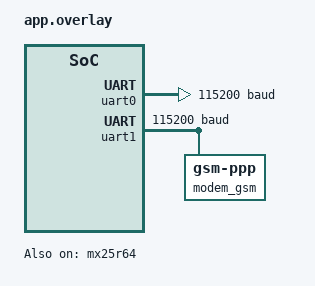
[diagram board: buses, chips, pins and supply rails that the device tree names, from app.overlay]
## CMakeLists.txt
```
#
# Copyright (c) 2020 Nordic Semiconductor
#
# SPDX-License-Identifier: LicenseRef-Nordic-5-Clause
#

cmake_minimum_required(VERSION 3.20.0)

find_package(Zephyr REQUIRED HINTS $ENV{ZEPHYR_BASE})
project(nrf_connect_sdk_intermediate)

target_sources(app PRIVATE src/main.c)
target_sources(app PRIVATE src/aws.c)
target_sources(app PRIVATE src/gsm.c )
target_sources(app PRIVATE src/aws_iot/iot_connections.c)
target_sources(app PRIVATE src/observer.c)


zephyr_include_directories(src)
zephyr_include_directories(src/aws_iot)

# Make folder containing certificates global so that it can be located by
# the AWS IoT library.
zephyr_include_directories_ifdef(CONFIG_AWS_IOT_PROVISION_CERTIFICATES certs)
```

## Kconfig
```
#
# Copyright (c) 2020 Nordic Semiconductor ASA
#
# SPDX-License-Identifier: LicenseRef-Nordic-5-Clause
#

rsource "src/aws_iot/Kconfig.aws"

rsource "src/Kconfig.base"

menu "AWS IoT Sample Settings"

config AWS_IOT_SAMPLE_APP_VERSION
	string "Application version"
	default "v1.0.0"

config AWS_TOPIC_NAME
	string "AWS Topic Name"
	default "zephyr/Yash"

config AWS_THING_NAME
	string "AWS Topic Name"
	default "fotaYash"

config AWS_IOT_SAMPLE_JSON_MESSAGE_SIZE_MAX
	int "Maximum size of JSON messages"
	default 200
	help
	  Maximum size of JSON messages that are sent to AWS IoT.

config AWS_IOT_SAMPLE_PUBLICATION_INTERVAL_SECONDS
	int "Interval in seconds that the sample will publish data"
	default 60

config AWS_IOT_SAMPLE_CONNECTION_RETRY_TIMEOUT_SECONDS
	int "Number of seconds between each AWS IoT connection retry"
	default 30

config AWS_IOT_SAMPLE_DEVICE_ID_USE_HW_ID
	bool "Use HW ID as device ID"
	select AWS_IOT_CLIENT_ID_APP
	depends on HW_ID_LIBRARY
	help
	  Use the devices's hardware ID as device ID when connecting to AWS IOT

config AWS_TEST_SUITE_RECV_QOS1
	bool "Test suite for receiving QoS 1 messages"
	help
		For single test case "MQTT Client Puack QoS1"

config AWS_QOS
	int "MQTT QoS"
	default 0 if AWS_TEST_SUITE_DQP
	default 1 if AWS_TEST_SUITE_RECV_QOS1
	default 0
	range 0 1
	help
		Quality of Service to use for publishing and subscribing to topics.
		Notes:
			- Use QoS 0 when passing DQP test suite
			- QoS 2 is not supported by AWS MQTT broker	  

module = AWS_IOT_SAMPLE
module-str = AWS IoT sample
source "${ZEPHYR_BASE}/subsys/logging/Kconfig.template.log_config"

endmenu

menu "Zephyr Kernel"
source "Kconfig.zephyr"
endmenu
```

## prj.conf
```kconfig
#version
CONFIG_AWS_IOT_SAMPLE_APP_VERSION="v1.0.0"

#Customizable Parameter 
CONFIG_GROUP_ID=1
CONFIG_DEVICE_ID=55
CONFIG_BLE_RECEIVING_PAYLOAD=32
# CONFIG_BLE_ADD="DF:AC:BE:AF:BA:13"
CONFIG_BLE_ADD="DF:AD:BE:AF:BA:01"
CONFIG_AWS_IOT_SAMPLE_JSON_MESSAGE_SIZE_MAX=1024

#Added AWS Host Name
CONFIG_AWS_IOT_BROKER_HOST_NAME="a3qvnhplljfvjr-ats.iot.us-east-1.amazonaws.com"
# CONFIG_AWS_IOT_BROKER_HOST_NAME="a1tgjydixa0qkm-ats.iot.us-east-1.amazonaws.com"

#AWS Thing Name
# CONFIG_AWS_THING_NAME="smart_irrigation"
# CONFIG_AWS_THING_NAME="SS_Electronics"
CONFIG_AWS_THING_NAME="CPS_Lab_1"

#AWS Topic Name
CONFIG_AWS_TOPIC_NAME="CloudSense_sensors/Temp"

CONFIG_LOG=y
CONFIG_JSON_LIBRARY=y

# Heap and stacksN
CONFIG_HEAP_MEM_POOL_SIZE=8192
CONFIG_MAIN_STACK_SIZE=4096

# Network
CONFIG_NETWORKING=y
CONFIG_NET_NATIVE=y
CONFIG_NET_IPV4=y
CONFIG_NET_CONNECTION_MANAGER=y

# AWS IoT library
CONFIG_AWS_IOTX=y
CONFIG_AWS_QOS=1



CONFIG_AWS_IOT_SEC_TAG=201
CONFIG_AWS_IOT_APP_SUBSCRIPTION_LIST_COUNT=2
CONFIG_AWS_IOT_LAST_WILL=y

# MQTT - Maximum MQTT keepalive timeout specified by AWS IoT Core
CONFIG_MQTT_KEEPALIVE=60
CONFIG_MQTT_CLEAN_SESSION=y
CONFIG_AWS_IOT_SAMPLE_PUBLICATION_INTERVAL_SECONDS=1


# GSM modem support
CONFIG_MODEM=y
CONFIG_MODEM_GSM_PPP=y
CONFIG_MODEM_GSM_QUECTEL=y

#gsm
CONFIG_NET_SHELL=y
CONFIG_MODEM_SHELL=y
CONFIG_MODEM_GSM_APN="airtelgprs.com"
CONFIG_MODEM_SIM_NUMBERS=n


# PPP networking support
CONFIG_NET_DRIVERS=y
CONFIG_NET_PPP=y
CONFIG_NET_L2_PPP_TIMEOUT=10000
CONFIG_NET_PPP_RX_STACK_SIZE=8192

# Network buffers
CONFIG_NET_PKT_RX_COUNT=128
CONFIG_NET_PKT_TX_COUNT=128
CONFIG_NET_BUF_RX_COUNT=128
CONFIG_NET_BUF_TX_COUNT=128
CONFIG_MULTITHREADING=y 
CONFIG_DATE_TIME=y
CONFIG_DATE_TIME_NTP=n
CONFIG_REBOOT=y
CONFIG_FPU=y
CONFIG_AWS_IOT_SAMPLE_CONNECTION_RETRY_TIMEOUT_SECONDS=2

# DNS
CONFIG_DNS_RESOLVER=y
CONFIG_DNS_RESOLVER_ADDITIONAL_BUF_CTR=2
CONFIG_DNS_RESOLVER_MAX_SERVERS=1
CONFIG_DNS_SERVER_IP_ADDRESSES=y
CONFIG_DNS_SERVER1="8.8.8.8"
CONFIG_NET_SOCKETS_DNS_TIMEOUT=5000


#time
CONFIG_SNTP=y

# Bluetooth settings
CONFIG_BT=y
CONFIG_BT_OBSERVER=y
CONFIG_BT_FILTER_ACCEPT_LIST=y
# CONFIG_BT_CTLR_DUP_FILTER=y

# Enable Extended Scanning
CONFIG_BT_EXT_ADV=y
# CONFIG_BT_EXT_SCAN_BUF_SIZE=1650
CONFIG_BT_BUF_EVT_RX_COUNT=20
# CONFIG_BT_CTLR_SCAN_DATA_LEN_MAX=1650 
# CONFIG_BT_CTLR_RX_BUFFERS=16
# CONFIG_BT_CTLR_FAL_SIZE=8

# Periodic scanning
CONFIG_BT_PER_ADV_SYNC=y
# CONFIG_BT_CTLR_SYNC_PERIODIC=y
CONFIG_BT_PER_ADV_SYNC_BUF_SIZE=256
# CONFIG_BT_PER_ADV_SYNC_BUF_SIZE=250
# CONFIG_BT_CTLR_SDC_PERIODIC_SYNC_BUFFER_COUNT=20
CONFIG_NEWLIB_LIBC=y
CONFIG_BT_PER_ADV_SYNC_MAX=4

# Bluetooth controller settings
# CONFIG_BT_LL_SW_SPLIT=y
# CONFIG_BT_LL_SOFTDEVICE=y
```

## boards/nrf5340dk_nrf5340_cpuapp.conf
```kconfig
# Configuration file for nRF7002 DK
# This file is merged with prj.conf in the application folder, and options
# set here will take precedence if they are present in both files.

# General
CONFIG_POSIX_CLOCK=y
CONFIG_SYSTEM_WORKQUEUE_STACK_SIZE=4096
CONFIG_HW_STACK_PROTECTION=y
CONFIG_HW_ID_LIBRARY_SOURCE_NET_MAC=y

# Set newlib C to prevent build error complaining that string.h is not supported
CONFIG_NEWLIB_LIBC=y
CONFIG_NEWLIB_LIBC_FLOAT_PRINTF=y


CONFIG_FLASH=y
CONFIG_FLASH_PAGE_LAYOUT=y
CONFIG_FLASH_MAP=y
CONFIG_NVS=y
CONFIG_SETTINGS=y
CONFIG_SETTINGS_NVS=y

# WPA
CONFIG_WPA_SUPP=y

# NET sockets
# CONFIG_NET_L2_ETHERNET=y
CONFIG_NET_L2_PPP=y
CONFIG_NET_TCP_WORKQ_STACK_SIZE=4096
CONFIG_NET_UDP=y
CONFIG_NET_TCP=y
CONFIG_NET_SOCKETS_OFFLOAD=n
CONFIG_NET_DHCPV4=y
CONFIG_NET_CONTEXT_SNDTIMEO=y
CONFIG_NET_CONTEXT_RCVTIMEO=y
CONFIG_MODEM_GSM_RX_STACK_SIZE=8192
CONFIG_MODEM_GSM_WORKQ_STACK_SIZE=4096

# Make AWS IoT library provision credentials prior to establishing a TLS connection.
# Credentials needs to be pasted into their respective entry under certs/.
CONFIG_AWS_IOT_PROVISION_CERTIFICATES=y

# Native network stack
CONFIG_NRF_SECURITY=y
CONFIG_MBEDTLS=y
CONFIG_MBEDTLS_ENABLE_HEAP=y
CONFIG_MBEDTLS_HEAP_SIZE=120000
CONFIG_MBEDTLS_RSA_C=y

# NET Sockets
CONFIG_NET_SOCKETS_SOCKOPT_TLS=y
CONFIG_NET_SOCKETS_TLS_MAX_CONTEXTS=2


# Serial Peripheral Interface (SPI) - Used to communicate with the mx25r64 external flash memory.
# CONFIG_SPI_NOR=y
# CONFIG_SPI_NOR_SFDP_DEVICETREE=y
CONFIG_PM_OVERRIDE_EXTERNAL_DRIVER_CHECK=y

# Bootloader and FOTA related configurations

# MCUBOOT
CONFIG_BOOTLOADER_MCUBOOT=y
CONFIG_MCUBOOT_IMG_MANAGER=y

# Image manager
CONFIG_IMG_MANAGER=y
CONFIG_STREAM_FLASH=y
CONFIG_IMG_ERASE_PROGRESSIVELY=y

# Download client (needed by AWS FOTA)
CONFIG_DOWNLOAD_CLIENT=y
CONFIG_DOWNLOAD_CLIENT_STACK_SIZE=4096

# STEP 5.1 - Enable AWS FOTA
CONFIG_AWS_FOTA=y
CONFIG_FOTA_DOWNLOAD=y
CONFIG_DFU_TARGET=y
CONFIG_AWS_FOTA_DOWNLOAD_SECURITY_TAG=201
```

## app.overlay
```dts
/*
 * Copyright (c) 2023 Nordic Semiconductor ASA
 *
 * SPDX-License-Identifier: LicenseRef-Nordic-5-Clause
 */

 / {
	/* Configure the partition manager to use the mx25r64 external flash memory. */
	chosen {
		nordic,pm-ext-flash = &mx25r64;
	};
};

&mx25r64 {
	status = "okay";
};

&pinctrl {
	uart1_default: uart1_default {
		group1 {
			psels = <NRF_PSEL(UART_TX, 1, 10)>;
		};
		group2 {
			psels = <NRF_PSEL(UART_RX, 1, 11)>;
			bias-pull-up;
		};
	};

	uart1_sleep: uart1_sleep {
		group1 {
			psels = <NRF_PSEL(UART_TX, 1, 10)>,
					<NRF_PSEL(UART_RX,1, 11)>;
			low-power-enable;
		};
	};
};


&uart0 {
	status = "okay";
	compatible = "nordic,nrf-uarte";
	current-speed = <115200>;
};


&uart1 {
	status = "okay";
	compatible = "nordic,nrf-uarte";
	current-speed = <115200>;
	gsm: gsm-modem {
		status = "okay";
		compatible = "zephyr,gsm-ppp";
		label = "modem_gsm";
	};
};
```

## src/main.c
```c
#include <zephyr/kernel.h>
#include <zephyr/drivers/gpio.h>
#include <zephyr/logging/log.h>
#include <zephyr/drivers/flash.h>
#include "gsm.h"
#include "aws.h"
#include "observer.h"

#define LED1_NODE DT_ALIAS(led1)
static const struct gpio_dt_spec led1 = GPIO_DT_SPEC_GET(LED1_NODE, gpios);

int readIndex = 0x102000;
int writeIndex = 0x102000;
int flashLimit = 0x800000;
bool memFilled = false;

void gsm_enable()
{
	gpio_pin_configure_dt(&led1, GPIO_OUTPUT | GPIO_ACTIVE_LOW);
	gpio_pin_set_dt(&led1, 0);
	K_MSEC(300);
	gpio_pin_set_dt(&led1, 1);
	K_MSEC(100);
}

void main()
{
	int rc;
	int temp_read_index, temp_write_index;
	const struct device *flash_dev;
	flash_dev = DEVICE_DT_GET(DT_ALIAS(spi_flash0));
	int len = sizeof(int);
	if (!device_is_ready(flash_dev))
	{
		printk("%s: flash device device not ready.\n", flash_dev->name);
		return;
	}
	rc = flash_read(flash_dev, CONFIG_FLASH_READ_ADD, &temp_read_index, len);
	if (rc == 0)
	{
		printk("Successfully read Read_index : %d\n", temp_read_index);
		if (temp_read_index > 0x102000 && temp_read_index < flashLimit)
		{
			readIndex = temp_read_index;
		}
		else
		{

			printk("It does not have stored read memory\n");
		}
	}
	else
	{

		printk("Failed to read Read_index\n");
	}
	rc = flash_read(flash_dev, CONFIG_FLASH_WRITE_ADD, &temp_write_index, len);
	if (rc == 0)
	{
		printk("Successfully read write_index : %d\n", temp_write_index);
		if (temp_write_index > 0x102000 && temp_write_index < flashLimit)
		{
			writeIndex = temp_write_index;
		}
		else
		{

			printk("It does not have stored write memory\n");
		}
	}
	else
	{

		printk("Failed to read write_index\n");
	}
	if (writeIndex < readIndex)
	{
		readIndex = 0x102000;
		writeIndex = 0x102000;
		printk("Read & write resets\n");
	}
	else
	{
		// nothing to do
	}
	printk("\nFIRMWARE VERSION: %s\n", CONFIG_AWS_IOT_SAMPLE_APP_VERSION);
	/*Enabling gsm*/
	gsm_enable();
	/*Initializing gsm AT commands function*/
	init_gsm();
	/*sensor initialization*/
	init_observer();
	/*Initializing AWS function*/
	init_AWS();
}
```

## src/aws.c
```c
#include <zephyr/kernel.h>
#include <zephyr/sys/reboot.h>
#include <zephyr/dfu/mcuboot.h>
#include <zephyr/logging/log.h>
#include <zephyr/logging/log_ctrl.h>
#include <zephyr/net/conn_mgr_connectivity.h>
#include <zephyr/net/conn_mgr_monitor.h>
#include <zephyr/drivers/gpio.h>
#include "iot_connections.h"
#include <stdio.h>
#include <stdlib.h>
#include <modem/modem_info.h>
#include <time.h>
#include <zephyr/net/sntp.h>
#include "gsm.h"
#include "observer.h"
#include <zephyr/data/json.h>
#include <zephyr/drivers/flash.h>

#define publishPayloadSize CONFIG_BLE_RECEIVING_PAYLOAD
#define LED0_NODE DT_ALIAS(led2)
static const struct gpio_dt_spec led = GPIO_DT_SPEC_GET(LED0_NODE, gpios);

/* Register log module */
LOG_MODULE_REGISTER(aws_iot_sample, CONFIG_AWS_IOT_SAMPLE_LOG_LEVEL);

#define SNTP_SERVER "0.pool.ntp.org"

/* Macros used to subscribe to specific Zephyr NET management events. */
#define L4_EVENT_MASK (NET_EVENT_L4_CONNECTED | NET_EVENT_L4_DISCONNECTED)
#define CONN_LAYER_EVENT_MASK (NET_EVENT_CONN_IF_FATAL_ERROR)

#define MODEM_FIRMWARE_VERSION_SIZE_MAX 50

/* Macro called upon a fatal error, reboots the device. */
#define FATAL_ERROR()                              \
	LOG_ERR("Fatal error! Rebooting the device."); \
	LOG_PANIC();                                   \
	IF_ENABLED(CONFIG_REBOOT, (sys_reboot(0)))

/* Forward declarations. */
static void shadow_update_work_fn(struct k_work *work);
static void connect_work_fn(struct k_work *work);
static void aws_iot_event_handler(const struct aws_iot_evt *const evt);

/* Work items used to control some aspects of the sample. */
static K_WORK_DELAYABLE_DEFINE(shadow_update_work, shadow_update_work_fn);
static K_WORK_DELAYABLE_DEFINE(connect_work, connect_work_fn);

#define SPI_FLASH_SECTOR_SIZE 4096
extern int readIndex, writeIndex, flashLimit, filterVar;
extern bool memFilled;
bool once = true; // run only one time
extern struct k_mutex test_mutex;
static int aws_iot_client_init(void)
{
	int err;
	struct aws_iot_config config = {0};

	err = aws_iot_init(&config, aws_iot_event_handler);
	if (err)
	{
		LOG_ERR("AWS IoT library could not be initialized, error: %d", err);
		FATAL_ERROR();
		return err;
	}

	return 0;
}

struct publish_payload
{
	uint32_t counter[publishPayloadSize];
	size_t counter_array_len;
};

static const struct json_obj_descr json_descr[] = {
	JSON_OBJ_DESCR_ARRAY(struct publish_payload, counter, 10 + 1, counter_array_len, JSON_TOK_NUMBER),
};

/* System Workqueue handlers. */
static void shadow_update_work_fn(struct k_work *work)
{
	uint8_t buf[publishPayloadSize] = {0};
	char temp;

	const struct device *flashDev;
	flashDev = DEVICE_DT_GET(DT_ALIAS(spi_flash0));

	struct publish_payload pl;
	int err;

	int index = 0;
	char message[CONFIG_AWS_IOT_SAMPLE_JSON_MESSAGE_SIZE_MAX] = {0};

	if (((writeIndex - readIndex) >= publishPayloadSize) || memFilled)
	{

		if (readIndex >= flashLimit)
		{
			readIndex = 0x102000;
			memFilled = false;
		}
		int rc;
		printk("flash reading from index %x", readIndex);
		rc = flash_read(flashDev, readIndex, buf, publishPayloadSize);
		if (rc != 0)
		{
			/* IF FAILED! */
			printf("Flash read failed! %d\n", rc);
			return;
		}

		const uint8_t *rp = buf;
		const uint8_t *rpe = rp + publishPayloadSize;

		while (rp < rpe)
		{
			/* temp has is 1 byte char.*/
			temp = *rp;

			/* Appending them in pl.counter so as to make MQTT payload. The index and rp are incremented every time. Thus, they are iterating over data. */
			pl.counter[index] = temp;
			index++;
			++rp;
		}
		pl.counter_array_len = publishPayloadSize;

		/* JSON encoding. */
		json_obj_encode_buf(json_descr, ARRAY_SIZE(json_descr), &pl, message, sizeof(message));

		struct aws_iot_data tx_data = {
			.qos = CONFIG_AWS_QOS,
			.topic.type = AWS_IOT_SHADOW_TOPIC_UPDATE,
		};

		tx_data.ptr = message;
		tx_data.len = strlen(message);

		err = aws_iot_send(&tx_data);
		if (err)
		{
			LOG_ERR("aws_iot_send, error: %d", err);
			// FATAL_ERROR();
			return;
		}
		// readIndex += publishPayloadSize;
	}
	(void)k_work_reschedule(&shadow_update_work,
							K_SECONDS(CONFIG_AWS_IOT_SAMPLE_PUBLICATION_INTERVAL_SECONDS));
}

static void connect_work_fn(struct k_work *work)
{
	int err;

	LOG_INF("Connecting to AWS IoT");

	err = aws_iot_connect(NULL);
	if (err)
	{
		LOG_ERR("aws_iot_connect, error: %d", err);
	}

	LOG_INF("Next connection retry in %d seconds",
			CONFIG_AWS_IOT_SAMPLE_CONNECTION_RETRY_TIMEOUT_SECONDS);

	(void)k_work_reschedule(&connect_work,
							K_SECONDS(CONFIG_AWS_IOT_SAMPLE_CONNECTION_RETRY_TIMEOUT_SECONDS));
}

/* Functions that are executed on specific connection-related events. */

static void on_aws_iot_evt_connected(const struct aws_iot_evt *const evt)
{
	// rebootCounter = 0;
	(void)k_work_cancel_delayable(&connect_work);

	/* If persistent session is enabled, the AWS IoT library will not subscribe to any topics.
	 * Topics from the last session will be used.
	 */
	if (evt->data.persistent_session)
	{
		LOG_WRN("Persistent session is enabled, using subscriptions "
				"from the previous session");
	}

	/* Mark image as working to avoid reverting to the former image after a reboot. */
#if defined(CONFIG_BOOTLOADER_MCUBOOT)
	LOG_INF("Confirming image");
	boot_write_img_confirmed();
#endif

	/* Start sequential updates to AWS IoT. */
	(void)k_work_reschedule(&shadow_update_work, K_NO_WAIT);
}

static void on_aws_iot_evt_disconnected(void)
{
	(void)k_work_cancel_delayable(&shadow_update_work);
	(void)k_work_reschedule(&connect_work, K_SECONDS(5));
}

static void on_aws_iot_evt_fota_done(const struct aws_iot_evt *const evt)
{
	int err;

	/* Tear down MQTT connection. */
	(void)aws_iot_disconnect();
	(void)k_work_cancel_delayable(&connect_work);

	/* If modem FOTA has been carried out, the modem needs to be reinitialized.
	 * This is carried out by bringing the network interface down/up.
	 */
	if (evt->data.image & DFU_TARGET_IMAGE_TYPE_ANY_MODEM)
	{
		LOG_INF("Modem FOTA done, reinitializing the modem");

		err = conn_mgr_all_if_down(true);
		if (err)
		{
			LOG_ERR("conn_mgr_all_if_down, error: %d", err);
			// FATAL_ERROR();
			return;
		}

		err = conn_mgr_all_if_up(true);
		if (err)
		{
			LOG_ERR("conn_mgr_all_if_up, error: %d", err);
			// FATAL_ERROR();
			return;
		}
	}
	else if (evt->data.image & DFU_TARGET_IMAGE_TYPE_ANY_APPLICATION)
	{
		LOG_INF("Application FOTA done, rebooting");
		IF_ENABLED(CONFIG_REBOOT, (sys_reboot(0)));
	}
	else
	{
		LOG_WRN("Unexpected FOTA image type");
	}
}
void on_net_event_l4_connected(void)
{
	(void)k_work_reschedule(&connect_work, K_SECONDS(5));
}

void on_net_event_l4_disconnected(void)
{
	(void)aws_iot_disconnect();
	(void)k_work_cancel_delayable(&connect_work);
	(void)k_work_cancel_delayable(&shadow_update_work);
}

/* Event handlers */

static void aws_iot_event_handler(const struct aws_iot_evt *const evt)
{
	switch (evt->type)
	{
	case AWS_IOT_EVT_CONNECTING:
		LOG_INF("AWS_IOT_EVT_CONNECTING");
		break;
	case AWS_IOT_EVT_CONNECTED:
		LOG_INF("AWS_IOT_EVT_CONNECTED");
		LOG_INF("LED 2 IS HIGH\n");
		gpio_pin_configure_dt(&led, GPIO_OUTPUT_ACTIVE);
		gpio_pin_set_dt(&led, 1);
		on_aws_iot_evt_connected(evt);
		break;
	case AWS_IOT_EVT_READY:
		LOG_INF("AWS_IOT_EVT_READY");
		break;
	case AWS_IOT_EVT_DISCONNECTED:
		LOG_INF("AWS_IOT_EVT_DISCONNECTED");
		gpio_pin_configure_dt(&led, GPIO_OUTPUT_ACTIVE);
		gpio_pin_set_dt(&led, 0);
		on_aws_iot_evt_disconnected();
		break;
	case AWS_IOT_EVT_DATA_RECEIVED:
		LOG_INF("AWS_IOT_EVT_DATA_RECEIVED");

		LOG_INF("Received message: \"%.*s\" on topic: \"%.*s\"", evt->data.msg.len,
				evt->data.msg.ptr,
				evt->data.msg.topic.len,
				evt->data.msg.topic.str);
		break;
	case AWS_IOT_EVT_PUBACK:
		if (once)
		{
			once = false;
			return;
		}
		int rc;
		const struct device *flash_dev;
		flash_dev = DEVICE_DT_GET(DT_ALIAS(spi_flash0));
		if (!device_is_ready(flash_dev))
		{
			printk("%s: flash device device not ready.\n", flash_dev->name);
			return;
		}

		LOG_INF("AWS_IOT_EVT_PUBACK, message ID: %d", evt->data.message_id);
		readIndex += publishPayloadSize;
		printk("Read Index : %ld\n", readIndex);
		k_mutex_lock(&test_mutex, K_FOREVER);
		rc = flash_erase(flash_dev, CONFIG_FLASH_READ_ADD, SPI_FLASH_SECTOR_SIZE);
		if (rc != 0)
		{
			printk("Flash erase failed with error code %d\n", rc);
			return;
		}
		const int wr_len = sizeof(int);
		rc = flash_write(flash_dev, CONFIG_FLASH_READ_ADD, &readIndex, wr_len);
		if (rc == 0)
		{
			printk("Updated read_index : %d\n", readIndex);
		}
		else
			printk("Failed to update read_index\n");
		k_mutex_unlock(&test_mutex);
		filterVar = 0;
		break;
	case AWS_IOT_EVT_PINGRESP:
		LOG_INF("AWS_IOT_EVT_PINGRESP");
		break;
	case AWS_IOT_EVT_FOTA_START:
		LOG_INF("AWS_IOT_EVT_FOTA_START");
		break;
	case AWS_IOT_EVT_FOTA_ERASE_PENDING:
		LOG_INF("AWS_IOT_EVT_FOTA_ERASE_PENDING");
		break;
	case AWS_IOT_EVT_FOTA_ERASE_DONE:
		LOG_INF("AWS_FOTA_EVT_ERASE_DONE");
		break;
	case AWS_IOT_EVT_FOTA_DONE:
		LOG_INF("AWS_IOT_EVT_FOTA_DONE");
		on_aws_iot_evt_fota_done(evt);
		break;
	case AWS_IOT_EVT_FOTA_DL_PROGRESS:
		LOG_INF("AWS_IOT_EVT_FOTA_DL_PROGRESS, (%d%%)", evt->data.fota_progress);
		break;
	case AWS_IOT_EVT_ERROR:
		LOG_INF("AWS_IOT_EVT_ERROR, %d", evt->data.err);
		break;
	case AWS_IOT_EVT_FOTA_ERROR:
		LOG_INF("AWS_IOT_EVT_FOTA_ERROR");
		break;
	default:
		LOG_WRN("Unknown AWS IoT event type: %d", evt->type);
		break;
	}
}

int init_AWS(void)
{
	int err;

	err = aws_iot_client_init();
	if (err)
	{
		LOG_ERR("aws_iot_client_init, error: %d", err);
		FATAL_ERROR();
		return err;
	}

	return 0;
}
```

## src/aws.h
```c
#ifndef AWS_H
#define AWS_H

void on_net_event_l4_connected(void);
void on_net_event_l4_disconnected(void);

#endif
```

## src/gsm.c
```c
#include <zephyr/kernel.h>
#include <zephyr/sys/printk.h>
#include <zephyr/shell/shell.h>
#include <zephyr/drivers/uart.h>
#include <zephyr/net/net_mgmt.h>
#include <zephyr/net/net_event.h>
#include <zephyr/net/net_core.h>
#include <zephyr/devicetree.h>
#include <zephyr/net/ppp.h>
#include "gsm.h"
#include "aws.h"
#include <zephyr/drivers/modem/gsm_ppp.h>
#include <zephyr/logging/log.h>

/* GPIO led code */
#include <zephyr/drivers/gpio.h>
#include <zephyr/pm/pm.h>
#include <zephyr/device.h>

#define LED0_NODE DT_ALIAS(led3)
static const struct gpio_dt_spec led = GPIO_DT_SPEC_GET(LED0_NODE, gpios);


#define GSM_MODEM_NODE DT_COMPAT_GET_ANY_STATUS_OKAY(zephyr_gsm_ppp)
#define UART_NODE DT_BUS(GSM_MODEM_NODE)

static const struct device *const gsm_dev = DEVICE_DT_GET(GSM_MODEM_NODE);
static struct net_mgmt_event_callback mgmt_cb;

static void event_handler(struct net_mgmt_event_callback *cb,
			  uint32_t mgmt_event, struct net_if *iface)
{
	ARG_UNUSED(cb);
	ARG_UNUSED(iface);

	if ((mgmt_event & (NET_EVENT_L4_CONNECTED
			   | NET_EVENT_L4_DISCONNECTED)) != mgmt_event) {
		return;
	}

	if (mgmt_event == NET_EVENT_L4_CONNECTED) {
		printk("Network connected");
		printk("LED 4 IS HIGH\n");
        on_net_event_l4_connected();
		gpio_pin_configure_dt(&led, GPIO_OUTPUT | GPIO_ACTIVE_LOW);
		gpio_pin_set_dt(&led, 1);
		K_MSEC(100);
		return;
	}

	if (mgmt_event == NET_EVENT_L4_DISCONNECTED) {
		printk("Network disconnected");
		printk("LED 4 IS LOW\n");
        on_net_event_l4_disconnected();
		gpio_pin_configure_dt(&led, GPIO_OUTPUT | GPIO_ACTIVE_LOW);
		gpio_pin_set_dt(&led, 0);
		K_MSEC(100);
		k_msleep(30);
		sys_reboot();
		return;
	}
}

static void modem_on_cb(const struct device *dev, void *user_data)
{
	ARG_UNUSED(dev);
	ARG_UNUSED(user_data);

	printk("GSM modem on callback fired");
}

static void modem_off_cb(const struct device *dev, void *user_data)
{
	ARG_UNUSED(dev);
	ARG_UNUSED(user_data);

	printk("GSM modem off callback fired");
}

void init_gsm(void)
{

    printk("Init... gsm\n");

	const struct device *uart_dev = DEVICE_DT_GET(UART_NODE);

	/* Optional register modem power callbacks */
	gsm_ppp_register_modem_power_callback(gsm_dev, modem_on_cb, modem_off_cb, NULL);

	printk("Board '%s' APN '%s' UART '%s' device %p (%s)",
		CONFIG_BOARD, CONFIG_MODEM_GSM_APN,
		uart_dev->name, uart_dev, gsm_dev->name);


	net_mgmt_init_event_callback(&mgmt_cb, event_handler,
				     NET_EVENT_L4_CONNECTED |
				     NET_EVENT_L4_DISCONNECTED);
	net_mgmt_add_event_callback(&mgmt_cb);


    printk("Initialised gsm\n");
}
```

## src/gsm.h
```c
#ifndef __GSM_H__
#define __GSM_H__

void init_gsm(void);
void start_sim_polling(void);

#endif
```

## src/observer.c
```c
#include <zephyr/kernel.h>
#include <zephyr/logging/log.h>
#include <zephyr/sys/printk.h>
#include <zephyr/drivers/gpio.h>
#include <zephyr/device.h>
#include <zephyr/drivers/flash.h>
#include <zephyr/bluetooth/bluetooth.h>
#include <zephyr/bluetooth/hci.h>
#include <stdio.h>
#include "observer.h" // Necessary for sensor-related operations
#include "aws.h"      // Required for AWS integration
#include "gsm.h"      // GSM communication

#define LED0_NODE DT_ALIAS(led0)
static const struct gpio_dt_spec led0 = GPIO_DT_SPEC_GET(LED0_NODE, gpios);

/* Defining the mutex as to lock the flash while reading and writing and then unlocking it. */
K_MUTEX_DEFINE(test_mutex);

#define STACKSIZE 4096
#define THREAD0_PRIORITY 7
#define SPI_FLASH_SECTOR_SIZE 4096
static void sntp_check(struct k_work *work);
static K_WORK_DELAYABLE_DEFINE(connect_work, sntp_check);
/* Index writeIndex to write data in flash */
extern int flashLimit, writeIndex, readIndex;
extern bool memFilled;
int epochArr[10] = {0};
int epochTime[10] = {0};
int filterVar = 0;
uint8_t rssi;

static void sntp_check(struct k_work *work)
{

    fetch_time_from_sntp(epochArr);

    for (int epochIdx = 0; epochIdx < 10; epochIdx++)
    {
        epochTime[epochIdx] = (uint8_t)epochArr[epochIdx];
    }

    /* Reschedule the work for periodic checking */
    k_work_reschedule(&connect_work, K_SECONDS(2));
}

#if defined(CONFIG_BT_EXT_ADV)
static bool data_cb(struct bt_data *data, void *user_data)
{

    uint8_t writeArray[CONFIG_BLE_RECEIVING_PAYLOAD];

    /*making the write_array zero*/
    for (int zeroIdx = 0; zeroIdx < sizeof(writeArray); zeroIdx++)
    {
        writeArray[zeroIdx] = 0;
    }

    gpio_pin_configure_dt(&led0, GPIO_OUTPUT | GPIO_ACTIVE_LOW);
    gpio_pin_toggle_dt(&led0);

    /* data_cb is executed whenever some advertising packet comes. */
    printk("IN DATA CB");

    switch (data->type)
    {
    case BT_DATA_NAME_SHORTENED:
    case BT_DATA_NAME_COMPLETE:
    case BT_DATA_MANUFACTURER_DATA:

        if (filterVar == data->data[0])
        {
            return;
        }
        else
        {

            filterVar = data->data[0];
        }

        printk("VALUE OF writeIndex  = %x \n", writeIndex);

        const struct device *flash_dev;
        flash_dev = DEVICE_DT_GET(DT_ALIAS(spi_flash0));

        // Storing chunk_size BYTES OF DATA AT ONCE //

        printk("\n %u \n", data->data_len);
        for (int dataIdx = 0; dataIdx < data->data_len; dataIdx++)
        {
            uint8_t data_holding_byte = data->data[dataIdx];
            // printk("%u ", data_holding_byte);
            writeArray[dataIdx] = data_holding_byte;
        }

        for (int dataIdx = data->data_len; dataIdx < CONFIG_BLE_RECEIVING_PAYLOAD; dataIdx++)
        {
            writeArray[dataIdx] = 0;
        }

        writeArray[CONFIG_BLE_RECEIVING_PAYLOAD - 11] = CONFIG_DEVICE_ID; /// device id of gateway
        writeArray[CONFIG_BLE_RECEIVING_PAYLOAD - 12] = CONFIG_GROUP_ID; /// device id of gateway
        writeArray[CONFIG_BLE_RECEIVING_PAYLOAD - 13] = rssi;             // range value

        /*Appending time at the end of the data_array*/
        for (int epochIdx = 0; epochIdx < 10; epochIdx++)
        {
            writeArray[CONFIG_BLE_RECEIVING_PAYLOAD + epochIdx - 10] = (uint8_t)epochTime[epochIdx];
        }
        /* leng is the length of the write array. */
        const size_t arrayLen = CONFIG_BLE_RECEIVING_PAYLOAD;

        k_mutex_lock(&test_mutex, K_FOREVER);

        printk("LOCK BEFORE WRITING!! \n");

        /* Erasing the flash as per erase sector size*/
        if (writeIndex % SPI_FLASH_SECTOR_SIZE == 0)
        {
            int ret = flash_erase(flash_dev, writeIndex, SPI_FLASH_SECTOR_SIZE);
            if (ret == 0)
            {
                printk("Erased flash sector %d to %d \n", writeIndex, writeIndex + SPI_FLASH_SECTOR_SIZE - 1);
            }
        }

        /* Writing in flash. */
        int rc = flash_write(flash_dev, writeIndex, writeArray, arrayLen);
        if (rc != 0)
        {
            printf("Flash write failed! %d\n", rc);
            return;
        }
        else
        {
            /* Incrementing index to write */
            writeIndex = writeIndex + CONFIG_BLE_RECEIVING_PAYLOAD;
            printf("write successful \n");
        }
        for (int dataIdx = 0; dataIdx < CONFIG_BLE_RECEIVING_PAYLOAD; dataIdx++)
        {

            printk("%u ", writeArray[dataIdx]);
        }

        // === UNLOCKING IN write === //
        k_mutex_unlock(&test_mutex);

        printk("UNLOCK AFTER WRITING!! \n");

        if (writeIndex >= flashLimit)
        {
            writeIndex = 0x102000;
            memFilled = true;
        }

        k_mutex_lock(&test_mutex, K_FOREVER);
        rc = flash_erase(flash_dev, CONFIG_FLASH_WRITE_ADD, SPI_FLASH_SECTOR_SIZE);
        if (rc != 0)
        {
            printk("Flash erase failed with error code %d\n", rc);
            return;
        }
        const int wr_len = sizeof(int);
        rc = flash_write(flash_dev, CONFIG_FLASH_WRITE_ADD, &writeIndex, wr_len);
        if (rc == 0)
        {
            printk("Updated writeIndex : %d\n", writeIndex);
        }
        else
            printk("Failed to update writeIndex\n");
        k_mutex_unlock(&test_mutex);

        return false;
    default:
        return true;
    }
}
static void scan_recv(const struct bt_le_scan_recv_info *info, struct net_buf_simple *buf)
{
    char le_addr[BT_ADDR_LE_STR_LEN];
    bt_addr_le_to_str(info->addr, le_addr, sizeof(le_addr));
    printk("Received packet from %s\n", le_addr);

    rssi = -(info->rssi);
    printk("%d\n", rssi);

    bt_data_parse(buf, data_cb, NULL);
}

static struct bt_le_scan_cb scan_callbacks = {
    .recv = scan_recv,
};
#endif /* CONFIG_BT_EXT_ADV */

int observer_start(void)
{

    bt_addr_le_t addr1;

    bt_addr_le_from_str(CONFIG_BLE_ADD, "random", &addr1);

    int err = bt_le_filter_accept_list_add(&addr1);
    if (err == 0)
    {
        printk("Successfully added the address to Filter Accept List..\n");
    }
    else
    {
        printk("Failed to update Filter Accept List..\n");
    }

    struct bt_le_scan_param scan_param = {
        .type = BT_LE_SCAN_TYPE_PASSIVE,
        .options = BT_LE_SCAN_OPT_FILTER_DUPLICATE | BT_LE_SCAN_OPT_FILTER_ACCEPT_LIST,
        .interval = 0x0030,
        .window = 0x0030,
    };

    bt_le_scan_cb_register(&scan_callbacks);
    err = bt_le_scan_start(&scan_param, NULL);

    if (err)
    {
        printk("Start scanning failed (err %d)\n", err);
        return err;
    }
    printk("Started scanning...\n");
    return 0;
}

int init_observer(void)
{
    /* Observer Initialization. */
    printk("observer Started");

    /* Enabling Bluetooth. */
    int err = bt_enable(NULL);
    if (err)
    {
        printk("Bluetooth init failed (err %d)\n", err);
        return err;
    }
    k_work_reschedule(&connect_work, K_SECONDS(2));

    return 0;
}

/* Defining the thread for observer. It will thus have the locking and unlocking property to mutex.
    It will start after 2500ms. */
K_THREAD_DEFINE(thread0_id, STACKSIZE, observer_start, NULL, NULL, NULL,
                THREAD0_PRIORITY, 0, 30000);
```

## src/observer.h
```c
#ifndef __MAIN_SENSORS_H__
#define __MAIN_SENSORS_H__

int init_observer(void);


#endif
```
